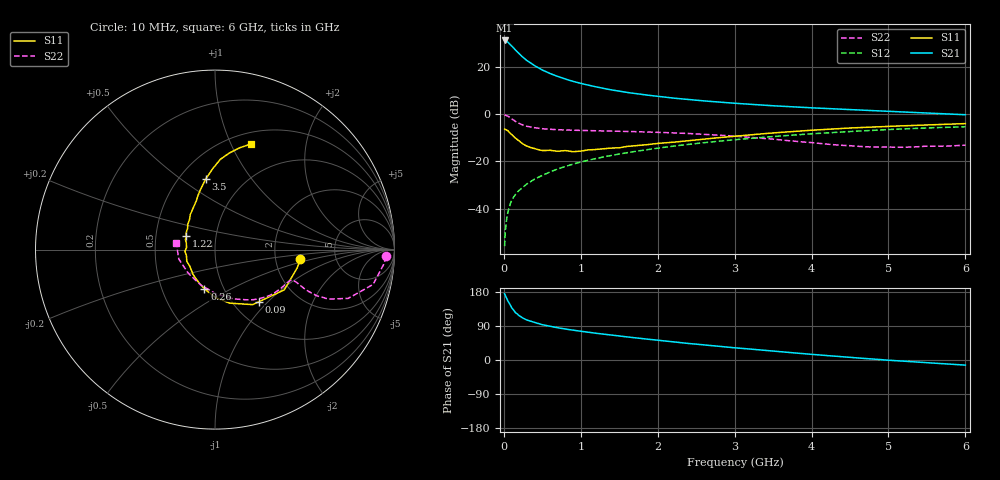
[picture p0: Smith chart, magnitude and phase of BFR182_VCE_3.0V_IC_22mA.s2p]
! Infineon Technologies  Discrete & RF Semiconductors
! BFR182
! VCE =  3.0 V,  IC =  22 mA
! Common Emitter S-Parameters:  Nov 2015
# GHz  S  MA  R  50
!  f  S11  S21  S12  S22
! GHz  MAG  ANG  MAG  ANG  MAG  ANG  MAG  ANG
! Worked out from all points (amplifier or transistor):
!   210 points, 10 MHz to 6 GHz, reference 50 ohm
!   highest |S21| = 31.0 dB at 10 MHz (marker M1)
!   |S21| within 3 dB of that: start of sweep to 121.5 MHz
!   unconditionally stable (mu >= 1): 475.3 MHz to 2.531 GHz
!   at 185 MHz: K = 0.74, MSG = 29.3 dB, |S12| = -32.8 dB
!   at 1.52 GHz: K = 1.05, MAG = 11.8 dB, |S12| = -16.9 dB
!   at 6 GHz: K = 0.90, MSG = 2.5 dB, |S12| = -5.4 dB
!   S11 on the Smith chart (normalised r, x): 10 MHz: 2.77, -0.39; 90 MHz: 1.31, -0.89; 260 MHz: 0.81, -0.37; 1.22 GHz: 0.72, +0.11; 3.5 GHz: 0.67, +0.62; 6 GHz: 0.62, +1.20
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0.01  0.478 -6.6  35.62 174.8  0.0016 86.4  0.9561 -2.3
0.02  0.4694 -12.5  35.11 169.8  0.0034 87.5  0.9427 -5.1
0.05  0.4463 -30.2  33.14 156.4  0.008 77.4  0.9021 -12.4
0.09  0.3798 -49.8  28.47 142.4  0.0134 74.3  0.8117 -18.4
0.1  0.3715 -55.6  27.61 138.3  0.0147 73.9  0.7907 -20.1
0.15  0.3089 -74.9  22.42 125.2  0.0197 70.7  0.6917 -23.5
0.2  0.2676 -89.3  18.56 116.7  0.0243 71.2  0.625 -24.4
0.26  0.2254 -105.1  15.12 109.4  0.0293 71.8  0.5721 -24.1
0.3  0.2082 -114.5  13.39 105.4  0.033 72.3  0.5459 -23.7
0.4  0.1848 -131.5  10.42 98.8  0.0417 73.1  0.5083 -22.5
0.5  0.168 -146.5  8.448 93.1  0.05 73.7  0.4858 -21.8
0.7  0.1624 -168.7  6.177 85.0  0.0684 74.3  0.4626 -21.7
0.8  0.1678 -176.8  5.422 81.7  0.0774 73.5  0.4563 -22.0
1.02  0.1654 166.1  4.329 75.4  0.0975 72.9  0.4463 -23.6
1.22  0.1783 154.3  3.664 70.1  0.1162 71.8  0.4387 -25.6
1.6  0.2049 138.2  2.84 60.8  0.1512 68.7  0.4258 -30.4
2.02  0.2389 125.2  2.319 51.7  0.1904 65.1  0.4076 -36.8
3.1  0.3491 102.9  1.636 30.6  0.2936 54.0  0.3282 -58.3
3.5  0.3958 97.6  1.484 23.3  0.3322 49.7  0.293 -69.7
4.1  0.4612 90.5  1.32 13.2  0.3881 42.3  0.2377 -92.5
5.1  0.5523 80.4  1.115 -1.8  0.4745 29.6  0.1972 -143.5
6  0.6234 71.1  0.959 -13.6  0.5346 17.1  0.2189 170.6
